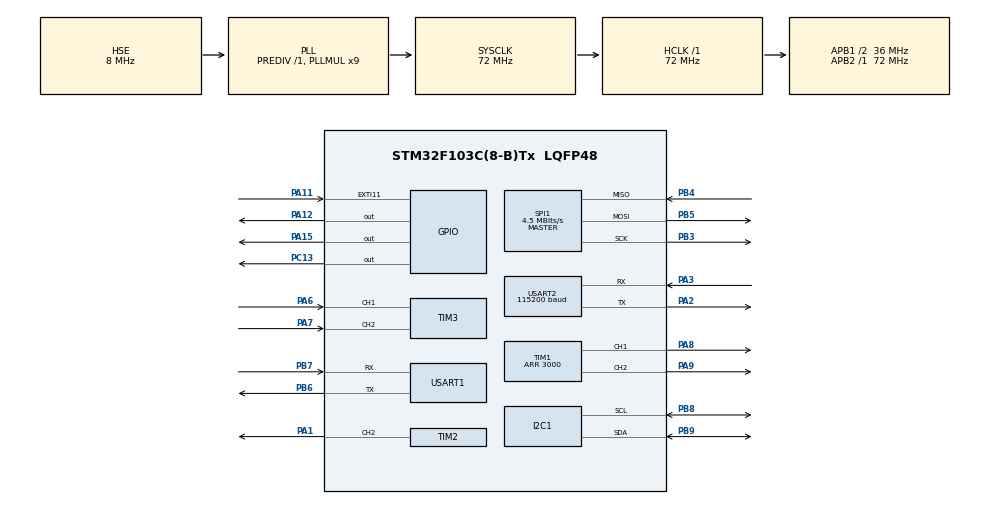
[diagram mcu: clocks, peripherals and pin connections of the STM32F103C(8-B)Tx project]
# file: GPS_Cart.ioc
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Dma.Request0=USART2_RX
Dma.Request1=USART1_RX
Dma.USART1_RX.1.Direction=DMA_PERIPH_TO_MEMORY
Dma.USART1_RX.1.Instance=DMA1_Channel5
Dma.USART1_RX.1.MemDataAlignment=DMA_MDATAALIGN_BYTE
Dma.USART1_RX.1.MemInc=DMA_MINC_ENABLE
Dma.USART1_RX.1.Mode=DMA_NORMAL
Dma.USART1_RX.1.PeriphDataAlignment=DMA_PDATAALIGN_BYTE
Dma.USART1_RX.1.PeriphInc=DMA_PINC_DISABLE
Dma.USART1_RX.1.Priority=DMA_PRIORITY_VERY_HIGH
Dma.USART2_RX.0.Direction=DMA_PERIPH_TO_MEMORY
Dma.USART2_RX.0.Instance=DMA1_Channel6
Dma.USART2_RX.0.MemDataAlignment=DMA_MDATAALIGN_BYTE
Dma.USART2_RX.0.MemInc=DMA_MINC_ENABLE
Dma.USART2_RX.0.Mode=DMA_NORMAL
Dma.USART2_RX.0.PeriphDataAlignment=DMA_PDATAALIGN_BYTE
Dma.USART2_RX.0.PeriphInc=DMA_PINC_DISABLE
Dma.USART2_RX.0.Priority=DMA_PRIORITY_MEDIUM
Mcu.Family=STM32F1
Mcu.Name=STM32F103C(8-B)Tx
Mcu.Package=LQFP48
NVIC.DMA1_Channel5_IRQn=true\:0\:0\:false\:false\:true\:false\:true
NVIC.DMA1_Channel6_IRQn=true\:0\:0\:false\:false\:true\:false\:true
NVIC.PriorityGroup=NVIC_PRIORITYGROUP_4
NVIC.TIM4_IRQn=true\:0\:0\:false\:false\:true\:true\:true
NVIC.USART1_IRQn=true\:0\:0\:false\:false\:true\:true\:true
NVIC.USART2_IRQn=true\:1\:0\:true\:false\:true\:true\:true
PA1.Signal=S_TIM2_CH2
PA11.Signal=GPXTI11
PA12.Signal=GPIO_Output
PA13.Mode=Serial_Wire
PA13.Signal=SYS_JTMS-SWDIO
PA14.Mode=Serial_Wire
PA14.Signal=SYS_JTCK-SWCLK
PA15.Signal=GPIO_Output
PA2.Mode=Asynchronous
PA2.Signal=USART2_TX
PA3.Mode=Asynchronous
PA3.Signal=USART2_RX
PA6.Signal=S_TIM3_CH1
PA7.Signal=S_TIM3_CH2
PA8.Signal=S_TIM1_CH1
PA9.Signal=S_TIM1_CH2
PB3.Mode=Full_Duplex_Master
PB3.Signal=SPI1_SCK
PB4.Mode=Full_Duplex_Master
PB4.Signal=SPI1_MISO
PB5.Mode=Full_Duplex_Master
PB5.Signal=SPI1_MOSI
PB6.Mode=Asynchronous
PB6.Signal=USART1_TX
PB7.Mode=Asynchronous
PB7.Signal=USART1_RX
PB8.Mode=I2C
PB8.Signal=I2C1_SCL
PB9.Mode=I2C
PB9.Signal=I2C1_SDA
PC13-TAMPER-RTC.Signal=GPIO_Output
PD0-OSC_IN.Mode=HSE-External-Oscillator
PD0-OSC_IN.Signal=RCC_OSC_IN
PD1-OSC_OUT.Mode=HSE-External-Oscillator
PD1-OSC_OUT.Signal=RCC_OSC_OUT
ProjectManager.HeapSize=0x200
ProjectManager.StackSize=0x400
ProjectManager.TargetToolchain=MDK-ARM V5.27
RCC.AHBFreq_Value=72000000
RCC.APB1CLKDivider=RCC_HCLK_DIV2
RCC.APB1Freq_Value=36000000
RCC.APB1TimFreq_Value=72000000
RCC.APB2Freq_Value=72000000
RCC.APB2TimFreq_Value=72000000
RCC.HCLKFreq_Value=72000000
RCC.PLLMUL=RCC_PLL_MUL9
RCC.PLLSourceVirtual=RCC_PLLSOURCE_HSE
RCC.SYSCLKFreq_VALUE=72000000
RCC.SYSCLKSource=RCC_SYSCLKSOURCE_PLLCLK
RCC.USBFreq_Value=72000000
SH.S_TIM1_CH1.0=TIM1_CH1,PWM Generation1 CH1
SH.S_TIM1_CH2.0=TIM1_CH2,PWM Generation2 CH2
SH.S_TIM2_CH2.0=TIM2_CH2,PWM Generation2 CH2
SH.S_TIM3_CH1.0=TIM3_CH1,Encoder_Interface
SH.S_TIM3_CH2.0=TIM3_CH2,Encoder_Interface
SPI1.BaudRatePrescaler=SPI_BAUDRATEPRESCALER_16
SPI1.CalculateBaudRate=4.5 MBits/s
SPI1.Direction=SPI_DIRECTION_2LINES
SPI1.Mode=SPI_MODE_MASTER
SPI1.VirtualType=VM_MASTER
TIM1.Channel-PWM\ Generation1\ CH1=TIM_CHANNEL_1
TIM1.Channel-PWM\ Generation2\ CH2=TIM_CHANNEL_2
TIM1.Period=3000
TIM2.Channel-PWM\ Generation2\ CH2=TIM_CHANNEL_2
TIM2.Period=999
TIM2.Prescaler=215
TIM4.Period=3600
TIM4.Prescaler=1000
USART1.VirtualMode=VM_ASYNC
USART2.BaudRate=115200
USART2.VirtualMode=VM_ASYNC
VP_TIM1_VS_ClockSourceINT.Mode=Internal
VP_TIM2_VS_ClockSourceINT.Mode=Internal
VP_TIM4_VS_ClockSourceINT.Mode=Internal
board=custom

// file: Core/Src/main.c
/* USER CODE BEGIN Header */
/**
  ******************************************************************************
  * @file           : main.c
  * @brief          : Main program body
  ******************************************************************************
  * @attention
  *
  * <h2><center>&copy; Copyright (c) 2022 STMicroelectronics.
  * All rights reserved.</center></h2>
  *
  * This software component is licensed by ST under BSD 3-Clause license,
  * the "License"; You may not use this file except in compliance with the
  * License. You may obtain a copy of the License at:
  *                        opensource.org/licenses/BSD-3-Clause
  *
  ******************************************************************************
  */
/* USER CODE END Header */
#include "main.h"

/* USER CODE BEGIN Includes */
#include "Functions.h"
#include "stdlib.h"
#include "stdio.h"
#include <string.h>

/* USER CODE END Includes */

/* USER CODE BEGIN PD */
#define forward		119//w
#define backward	115//s
#define stop			102//f
#define left			97 //a
#define right			100//d
#define straight	103//g
#define waypoint_request	114 //r
#define start_waypoint_request	109 //m
#define auto_request 116 //t

#define slight_left 104	//h
#define medium_left 106	//j

#define slight_right 107	//k
#define medium_right 108	//l

#define enable_PID 110 	//n
#define disable_PID 111	//o
#define pause_PID 112		//p

#define speed1 48	//0: 3.0
#define speed2 49 //1: 3.5
#define speed3 50 //2: 4.0
#define speed4 51 //3: 4.5
#define speed5 52 //4: 4.8

#define true 1
#define false 0

/* USER CODE END PD */

I2C_HandleTypeDef hi2c1;

SPI_HandleTypeDef hspi1;

TIM_HandleTypeDef htim1;
TIM_HandleTypeDef htim2;
TIM_HandleTypeDef htim3;
TIM_HandleTypeDef htim4;

UART_HandleTypeDef huart1;
UART_HandleTypeDef huart2;
DMA_HandleTypeDef hdma_usart1_rx;
DMA_HandleTypeDef hdma_usart2_rx;

/* USER CODE BEGIN PV */
uint8_t msg[50] = {0};
uint8_t msg_test[5] = {0};
uint8_t msg_gps [50] = {0};
uint8_t array_msg[14] = {0};
uint8_t size = 0;

float test_pid=0;
float set_speed=2.5;

//control
uint8_t dir, uart1_enb = true, uart2_enb = true;

//magnetometer variables
uint8_t compassData[6];
int16_t x_axis,y_axis,z_axis;
float heading;
uint32_t start,end;

//GPS
float lat,lon = 0;
char ns, ew;

//PID parameters
float kp= 20.0, ki=1.2, kd=0;
float pid[4], speed, distance;
char* token;
uint32_t now=0, before=0;
uint8_t period=0;
uint32_t start=0, end=0;
uint32_t count=0, pre_count=0;
uint8_t PID_flag = false;

//PID_tuning, can be deleted later
uint8_t org_size=18;
uint8_t add_size_speed=0, add_size_time=0;

/* USER CODE END PV */

void SystemClock_Config(void);
static void MX_GPIO_Init(void);
static void MX_DMA_Init(void);
static void MX_I2C1_Init(void);
static void MX_USART1_UART_Init(void);
static void MX_USART2_UART_Init(void);
static void MX_TIM1_Init(void);
static void MX_TIM3_Init(void);
static void MX_TIM4_Init(void);
static void MX_TIM2_Init(void);
static void MX_SPI1_Init(void);
/* USER CODE BEGIN PFP */

float convertToDistance(uint32_t count)
{
	return (float)((count*47)/592);
}

float nmeaToDec(float deg_coord, char nsew) {
    int degree = (int)(deg_coord/100);
    float minutes = deg_coord - degree*100;
    float dec_deg = minutes / 60;
    float decimal = degree + dec_deg;
    if (nsew == 'S' || nsew == 'W') { // return negative
        decimal *= -1;
    }
    return decimal;
}

void HAL_UARTEx_RxEventCallback(UART_HandleTypeDef *huart, uint16_t Size)
{
    HAL_UARTEx_ReceiveToIdle_DMA(&huart1, &dir, sizeof(dir));
		HAL_UARTEx_ReceiveToIdle_DMA(&huart2, msg_gps, sizeof(msg_gps));
    size = Size;

		if(huart->Instance == USART2)
		{
			//if(uart2_enb)
			//{
				//HAL_UART_Transmit(&huart1, msg_gps, strlen(msg_gps), 100);
				if(!strncmp(msg_gps, "$GNGLL", 6))
				{
					sscanf(msg_gps, "$GNGLL,%f,%c,%f,%c", &lat,&ns, &lon, &ew);
					lat = nmeaToDec(lat, ns);
					lon = nmeaToDec(lon, ew);
					//sprintf(msg,"%f, %f\r\n", lat, lon);
					//sprintf(msg,"Receiving from GPS");
					//HAL_UART_Transmit(&huart1, msg, strlen(msg), 100);
				}
			//}
			uart2_enb = 1- uart2_enb;
		}

		if(huart->Instance == USART1)
		{

			if(uart1_enb)
			{
			switch(dir)
			{
				case forward:
					//HAL_UART_Transmit(&huart1,&dir,1,100);
					TIM1->CCR1=0;
					TIM1->CCR2=0;
					TIM1->CCR1=2300;
				break;

				case backward:
					//HAL_UART_Transmit(&huart1,&dir,1,100);
					TIM1->CCR1=0;
					TIM1->CCR2=0;
					TIM1->CCR2=2300;
				break;

				case stop:
					//HAL_UART_Transmit(&huart1,&dir,1,100);
					TIM1->CCR1=0;
					TIM1->CCR2=0;
				break;

				case left:
					//HAL_UART_Transmit(&huart1,&dir,1,100);
					TIM2->CCR2 = 450 ;// yes
				break;

				case right:
					//HAL_UART_Transmit(&huart1,&dir,1,100);
					TIM2->CCR2 = 150 ;// yes
				break;

				case straight:
					//HAL_UART_Transmit(&huart1,&dir,1,100);
					TIM2->CCR2 = 310;// yes
				break;

				case waypoint_request:
				case start_waypoint_request:
					memset(msg,0,sizeof(msg));
					sprintf(msg,"%f,%f\r\n",lat,lon);
					HAL_UART_Transmit(&huart1,msg,strlen(msg),100);
				break;

				case auto_request:
					memset(msg,0,sizeof(msg));
					readAxis(compassData);
					heading=convert(&x_axis, &y_axis, &z_axis,  compassData);
					memset(msg,0,sizeof(msg));
					sprintf(msg,"%f,%f,%f,%f\r\n", lat, lon, heading, speed);
					HAL_UART_Transmit(&huart1,msg,strlen(msg),100);
				break;

				//auto set speed
				case speed1:
					case speed2:
						case speed3:
							case speed4:
								case speed5:
									setSpeed(&set_speed, dir);
								break;

				case enable_PID:
					PID_flag = true;
				break;

				case disable_PID:
					PID_flag = false;
				  TIM1->CCR1 = 0;
				  resetParameters();
				break;

				//auto directions
				case slight_left:
					TIM2->CCR2 = 367 ;// yes
				break;

				case medium_left:
					TIM2->CCR2 = 409 ;// yes
				break;

				case slight_right:
					TIM2->CCR2 = 208 ;// yes
				break;

				case medium_right:
					TIM2->CCR2 = 266 ;// yes
				break;

			}
		}
			uart1_enb = 1-uart1_enb;
	}

		 //PID
		 /*
		token = strtok(msg,",");

		TIM1 -> CCR1 = 0;

		resetParameters();

    uint8_t ind=0;

    for(ind =0; ind<4; ++ind)
		{
    	pid[ind] = atof(token);
     	token = strtok(NULL, ",");
		}
		//sprintf(msg,"The data is %f %f %f", pid[0], pid[1], pid[2]);
		//HAL_UART_Transmit(&huart1, msg, 50,100);
		kp = pid[0];
		ki = pid[1];
		kd = pid[2];
		set_speed = pid[3];
		memset(msg, 0, sizeof(msg));
		*/

}

void HAL_TIM_PeriodElapsedCallback(TIM_HandleTypeDef* htim)
{
	if(PID_flag)
	{
	HAL_GPIO_TogglePin(GPIOC, GPIO_PIN_13);

	count = TIM3->CNT;
	now = HAL_GetTick();
	float now_float = now;

	distance = ((TIM3->CNT - pre_count)*20);
	distance = (distance/592)*47.1/100;
	speed = distance*3.6;

	TIM1->CCR1 += PID_calc((now-before)/1000, set_speed, speed); //fix actual speed;
	//.........
	//convertTransfer(test_pid, now_float, array_msg);
	if((TIM1->CCR1)>2300)
	{
		TIM1->CCR1 = 2300;
	}
	else if(TIM1 -> CCR1 < 0)
	{
		TIM1->CCR1 = 0;
	}

	//sprintf(msg,"%f,%d\r\n",speed,now);
	//HAL_UART_Transmit(&huart1, msg, strlen(msg),100);
	//memset(msg,0,sizeof(msg));

	before = now;
	pre_count = count;
	}
}

/* USER CODE END PFP */

/* USER CODE BEGIN 0 */

void changeUART2Baud()
{
HAL_UART_DeInit(&huart2);
huart2.Init.BaudRate = 115200;
if (HAL_UART_Init(&huart2) != HAL_OK)
  {
    Error_Handler();
  }
}

/* USER CODE END 0 */

int main(void)
{

  /* MCU Configuration--------------------------------------------------------*/

  /* Reset of all peripherals, Initializes the Flash interface and the Systick. */
  HAL_Init();

  /* Configure the system clock */
  SystemClock_Config();

  /* USER CODE BEGIN SysInit */
	HAL_Delay(1000);
  /* USER CODE END SysInit */

  /* Initialize all configured peripherals */
  MX_GPIO_Init();
  MX_DMA_Init();
  MX_I2C1_Init();
  MX_USART1_UART_Init();
  MX_USART2_UART_Init();
  MX_TIM1_Init();
  MX_TIM3_Init();
  MX_TIM4_Init();
  MX_TIM2_Init();
  MX_SPI1_Init();
  /* USER CODE BEGIN 2 */
	HAL_I2C_Init(&hi2c1);
	HAL_TIM_Base_Start_IT(&htim4);
	HAL_TIM_Encoder_Start(&htim3, TIM_CHANNEL_1);
	HAL_TIM_Encoder_Start(&htim3, TIM_CHANNEL_2);
	HAL_TIM_PWM_Start(&htim1, TIM_CHANNEL_1);
	HAL_TIM_PWM_Start(&htim1, TIM_CHANNEL_2);

	//temp
	HAL_TIM_PWM_Start(&htim2, TIM_CHANNEL_2);

	//GPS_Init();

	compassInit();

	HAL_UARTEx_ReceiveToIdle_DMA(&huart1, &dir, sizeof(dir));
  __HAL_DMA_DISABLE_IT(&hdma_usart1_rx, DMA_IT_HT);

	HAL_UARTEx_ReceiveToIdle_DMA(&huart2, msg_gps, sizeof(msg_gps));
  __HAL_DMA_DISABLE_IT(&hdma_usart2_rx, DMA_IT_HT);

	TIM1->CCR1 = 0;
	TIM1 ->CCR2 = 0;

  /* USER CODE END 2 */

  /* Infinite loop */
  while (1)
  {

    /* USER CODE BEGIN 3 */
			//HAL_GPIO_TogglePin(GPIOC,GPIO_PIN_13);

			start = HAL_GetTick();
			//readAxis(compassData);
			//heading=convert(&x_axis, &y_axis, &z_axis,  compassData);
			end = HAL_GetTick();

			//HAL_UART_Receive(&huart2, msg, sizeof(msg),200);
			//sprintf(msg,"%d %d %d\r\n",x_axis,y_axis,z_axis);
			//sprintf(msg,"%f\r\n",heading);
			//HAL_UART_Transmit(&huart1, msg, strlen(msg),100);
			//memset(msg, 0, sizeof(msg));
			//sprintf(msg,"%d\r\n", TIM3->CNT);
			//HAL_UART_Transmit(&huart1, msg, strlen(msg),100);
			//HAL_Delay(100);
			//setSentence(0,1);
		/*
			for(int i =450; i>180; i=i-50)
			{
				TIM3->CCR3 = i;
				HAL_Delay(2000);
			}
		*/

  }
  /* USER CODE END 3 */
}

void SystemClock_Config(void)
{
  RCC_OscInitTypeDef RCC_OscInitStruct = {0};
  RCC_ClkInitTypeDef RCC_ClkInitStruct = {0};

  /** Initializes the RCC Oscillators according to the specified parameters
  * in the RCC_OscInitTypeDef structure.
  */
  RCC_OscInitStruct.OscillatorType = RCC_OSCILLATORTYPE_HSE;
  RCC_OscInitStruct.HSEState = RCC_HSE_ON;
  RCC_OscInitStruct.HSEPredivValue = RCC_HSE_PREDIV_DIV1;
  RCC_OscInitStruct.HSIState = RCC_HSI_ON;
  RCC_OscInitStruct.PLL.PLLState = RCC_PLL_ON;
  RCC_OscInitStruct.PLL.PLLSource = RCC_PLLSOURCE_HSE;
  RCC_OscInitStruct.PLL.PLLMUL = RCC_PLL_MUL9;
  if (HAL_RCC_OscConfig(&RCC_OscInitStruct) != HAL_OK)
  {
    Error_Handler();
  }
  /** Initializes the CPU, AHB and APB buses clocks
  */
  RCC_ClkInitStruct.ClockType = RCC_CLOCKTYPE_HCLK|RCC_CLOCKTYPE_SYSCLK
                              |RCC_CLOCKTYPE_PCLK1|RCC_CLOCKTYPE_PCLK2;
  RCC_ClkInitStruct.SYSCLKSource = RCC_SYSCLKSOURCE_PLLCLK;
  RCC_ClkInitStruct.AHBCLKDivider = RCC_SYSCLK_DIV1;
  RCC_ClkInitStruct.APB1CLKDivider = RCC_HCLK_DIV2;
  RCC_ClkInitStruct.APB2CLKDivider = RCC_HCLK_DIV1;

  if (HAL_RCC_ClockConfig(&RCC_ClkInitStruct, FLASH_LATENCY_2) != HAL_OK)
  {
    Error_Handler();
  }
}

static void MX_I2C1_Init(void)
{

  hi2c1.Instance = I2C1;
  hi2c1.Init.ClockSpeed = 100000;
  hi2c1.Init.DutyCycle = I2C_DUTYCYCLE_2;
  hi2c1.Init.OwnAddress1 = 0;
  hi2c1.Init.AddressingMode = I2C_ADDRESSINGMODE_7BIT;
  hi2c1.Init.DualAddressMode = I2C_DUALADDRESS_DISABLE;
  hi2c1.Init.OwnAddress2 = 0;
  hi2c1.Init.GeneralCallMode = I2C_GENERALCALL_DISABLE;
  hi2c1.Init.NoStretchMode = I2C_NOSTRETCH_DISABLE;
  if (HAL_I2C_Init(&hi2c1) != HAL_OK)
  {
    Error_Handler();
  }

}

static void MX_SPI1_Init(void)
{

  /* SPI1 parameter configuration*/
  hspi1.Instance = SPI1;
  hspi1.Init.Mode = SPI_MODE_MASTER;
  hspi1.Init.Direction = SPI_DIRECTION_2LINES;
  hspi1.Init.DataSize = SPI_DATASIZE_8BIT;
  hspi1.Init.CLKPolarity = SPI_POLARITY_LOW;
  hspi1.Init.CLKPhase = SPI_PHASE_1EDGE;
  hspi1.Init.NSS = SPI_NSS_SOFT;
  hspi1.Init.BaudRatePrescaler = SPI_BAUDRATEPRESCALER_16;
  hspi1.Init.FirstBit = SPI_FIRSTBIT_MSB;
  hspi1.Init.TIMode = SPI_TIMODE_DISABLE;
  hspi1.Init.CRCCalculation = SPI_CRCCALCULATION_DISABLE;
  hspi1.Init.CRCPolynomial = 10;
  if (HAL_SPI_Init(&hspi1) != HAL_OK)
  {
    Error_Handler();
  }

}

static void MX_TIM1_Init(void)
{

  TIM_ClockConfigTypeDef sClockSourceConfig = {0};
  TIM_MasterConfigTypeDef sMasterConfig = {0};
  TIM_OC_InitTypeDef sConfigOC = {0};
  TIM_BreakDeadTimeConfigTypeDef sBreakDeadTimeConfig = {0};

  htim1.Instance = TIM1;
  htim1.Init.Prescaler = 0;
  htim1.Init.CounterMode = TIM_COUNTERMODE_UP;
  htim1.Init.Period = 3000;
  htim1.Init.ClockDivision = TIM_CLOCKDIVISION_DIV1;
  htim1.Init.RepetitionCounter = 0;
  htim1.Init.AutoReloadPreload = TIM_AUTORELOAD_PRELOAD_DISABLE;
  if (HAL_TIM_Base_Init(&htim1) != HAL_OK)
  {
    Error_Handler();
  }
  sClockSourceConfig.ClockSource = TIM_CLOCKSOURCE_INTERNAL;
  if (HAL_TIM_ConfigClockSource(&htim1, &sClockSourceConfig) != HAL_OK)
  {
    Error_Handler();
  }
  if (HAL_TIM_PWM_Init(&htim1) != HAL_OK)
  {
    Error_Handler();
  }
  sMasterConfig.MasterOutputTrigger = TIM_TRGO_RESET;
  sMasterConfig.MasterSlaveMode = TIM_MASTERSLAVEMODE_DISABLE;
  if (HAL_TIMEx_MasterConfigSynchronization(&htim1, &sMasterConfig) != HAL_OK)
  {
    Error_Handler();
  }
  sConfigOC.OCMode = TIM_OCMODE_PWM1;
  sConfigOC.Pulse = 0;
  sConfigOC.OCPolarity = TIM_OCPOLARITY_HIGH;
  sConfigOC.OCNPolarity = TIM_OCNPOLARITY_HIGH;
  sConfigOC.OCFastMode = TIM_OCFAST_DISABLE;
  sConfigOC.OCIdleState = TIM_OCIDLESTATE_RESET;
  sConfigOC.OCNIdleState = TIM_OCNIDLESTATE_RESET;
  if (HAL_TIM_PWM_ConfigChannel(&htim1, &sConfigOC, TIM_CHANNEL_1) != HAL_OK)
  {
    Error_Handler();
  }
  if (HAL_TIM_PWM_ConfigChannel(&htim1, &sConfigOC, TIM_CHANNEL_2) != HAL_OK)
  {
    Error_Handler();
  }
  sBreakDeadTimeConfig.OffStateRunMode = TIM_OSSR_DISABLE;
  sBreakDeadTimeConfig.OffStateIDLEMode = TIM_OSSI_DISABLE;
  sBreakDeadTimeConfig.LockLevel = TIM_LOCKLEVEL_OFF;
  sBreakDeadTimeConfig.DeadTime = 0;
  sBreakDeadTimeConfig.BreakState = TIM_BREAK_DISABLE;
  sBreakDeadTimeConfig.BreakPolarity = TIM_BREAKPOLARITY_HIGH;
  sBreakDeadTimeConfig.AutomaticOutput = TIM_AUTOMATICOUTPUT_DISABLE;
  if (HAL_TIMEx_ConfigBreakDeadTime(&htim1, &sBreakDeadTimeConfig) != HAL_OK)
  {
    Error_Handler();
  }
  HAL_TIM_MspPostInit(&htim1);

}

static void MX_TIM2_Init(void)
{

  TIM_ClockConfigTypeDef sClockSourceConfig = {0};
  TIM_MasterConfigTypeDef sMasterConfig = {0};
  TIM_OC_InitTypeDef sConfigOC = {0};

  htim2.Instance = TIM2;
  htim2.Init.Prescaler = 215;
  htim2.Init.CounterMode = TIM_COUNTERMODE_UP;
  htim2.Init.Period = 999;
  htim2.Init.ClockDivision = TIM_CLOCKDIVISION_DIV1;
  htim2.Init.AutoReloadPreload = TIM_AUTORELOAD_PRELOAD_DISABLE;
  if (HAL_TIM_Base_Init(&htim2) != HAL_OK)
  {
    Error_Handler();
  }
  sClockSourceConfig.ClockSource = TIM_CLOCKSOURCE_INTERNAL;
  if (HAL_TIM_ConfigClockSource(&htim2, &sClockSourceConfig) != HAL_OK)
  {
    Error_Handler();
  }
  if (HAL_TIM_PWM_Init(&htim2) != HAL_OK)
  {
    Error_Handler();
  }
  sMasterConfig.MasterOutputTrigger = TIM_TRGO_RESET;
  sMasterConfig.MasterSlaveMode = TIM_MASTERSLAVEMODE_DISABLE;
  if (HAL_TIMEx_MasterConfigSynchronization(&htim2, &sMasterConfig) != HAL_OK)
  {
    Error_Handler();
  }
  sConfigOC.OCMode = TIM_OCMODE_PWM1;
  sConfigOC.Pulse = 0;
  sConfigOC.OCPolarity = TIM_OCPOLARITY_HIGH;
  sConfigOC.OCFastMode = TIM_OCFAST_DISABLE;
  if (HAL_TIM_PWM_ConfigChannel(&htim2, &sConfigOC, TIM_CHANNEL_2) != HAL_OK)
  {
    Error_Handler();
  }
  HAL_TIM_MspPostInit(&htim2);

}

static void MX_TIM3_Init(void)
{

  TIM_Encoder_InitTypeDef sConfig = {0};
  TIM_MasterConfigTypeDef sMasterConfig = {0};

  htim3.Instance = TIM3;
  htim3.Init.Prescaler = 0;
  htim3.Init.CounterMode = TIM_COUNTERMODE_UP;
  htim3.Init.Period = 65535;
  htim3.Init.ClockDivision = TIM_CLOCKDIVISION_DIV1;
  htim3.Init.AutoReloadPreload = TIM_AUTORELOAD_PRELOAD_DISABLE;
  sConfig.EncoderMode = TIM_ENCODERMODE_TI1;
  sConfig.IC1Polarity = TIM_ICPOLARITY_RISING;
  sConfig.IC1Selection = TIM_ICSELECTION_DIRECTTI;
  sConfig.IC1Prescaler = TIM_ICPSC_DIV1;
  sConfig.IC1Filter = 0;
  sConfig.IC2Polarity = TIM_ICPOLARITY_RISING;
  sConfig.IC2Selection = TIM_ICSELECTION_DIRECTTI;
  sConfig.IC2Prescaler = TIM_ICPSC_DIV1;
  sConfig.IC2Filter = 0;
  if (HAL_TIM_Encoder_Init(&htim3, &sConfig) != HAL_OK)
  {
    Error_Handler();
  }
  sMasterConfig.MasterOutputTrigger = TIM_TRGO_RESET;
  sMasterConfig.MasterSlaveMode = TIM_MASTERSLAVEMODE_DISABLE;
  if (HAL_TIMEx_MasterConfigSynchronization(&htim3, &sMasterConfig) != HAL_OK)
  {
    Error_Handler();
  }

}

static void MX_TIM4_Init(void)
{

  TIM_ClockConfigTypeDef sClockSourceConfig = {0};
  TIM_MasterConfigTypeDef sMasterConfig = {0};

  htim4.Instance = TIM4;
  htim4.Init.Prescaler = 1000;
  htim4.Init.CounterMode = TIM_COUNTERMODE_UP;
  htim4.Init.Period = 3600;
  htim4.Init.ClockDivision = TIM_CLOCKDIVISION_DIV1;
  htim4.Init.AutoReloadPreload = TIM_AUTORELOAD_PRELOAD_DISABLE;
  if (HAL_TIM_Base_Init(&htim4) != HAL_OK)
  {
    Error_Handler();
  }
  sClockSourceConfig.ClockSource = TIM_CLOCKSOURCE_INTERNAL;
  if (HAL_TIM_ConfigClockSource(&htim4, &sClockSourceConfig) != HAL_OK)
  {
    Error_Handler();
  }
  sMasterConfig.MasterOutputTrigger = TIM_TRGO_RESET;
  sMasterConfig.MasterSlaveMode = TIM_MASTERSLAVEMODE_DISABLE;
  if (HAL_TIMEx_MasterConfigSynchronization(&htim4, &sMasterConfig) != HAL_OK)
  {
    Error_Handler();
  }

}

static void MX_USART1_UART_Init(void)
{

  huart1.Instance = USART1;
  huart1.Init.BaudRate = 115200;
  huart1.Init.WordLength = UART_WORDLENGTH_8B;
  huart1.Init.StopBits = UART_STOPBITS_1;
  huart1.Init.Parity = UART_PARITY_NONE;
  huart1.Init.Mode = UART_MODE_TX_RX;
  huart1.Init.HwFlowCtl = UART_HWCONTROL_NONE;
  huart1.Init.OverSampling = UART_OVERSAMPLING_16;
  if (HAL_UART_Init(&huart1) != HAL_OK)
  {
    Error_Handler();
  }

}

static void MX_USART2_UART_Init(void)
{

  huart2.Instance = USART2;
  huart2.Init.BaudRate = 115200;
  huart2.Init.WordLength = UART_WORDLENGTH_8B;
  huart2.Init.StopBits = UART_STOPBITS_1;
  huart2.Init.Parity = UART_PARITY_NONE;
  huart2.Init.Mode = UART_MODE_TX_RX;
  huart2.Init.HwFlowCtl = UART_HWCONTROL_NONE;
  huart2.Init.OverSampling = UART_OVERSAMPLING_16;
  if (HAL_UART_Init(&huart2) != HAL_OK)
  {
    Error_Handler();
  }

}

static void MX_DMA_Init(void)
{

  /* DMA controller clock enable */
  __HAL_RCC_DMA1_CLK_ENABLE();

  /* DMA interrupt init */
  /* DMA1_Channel5_IRQn interrupt configuration */
  HAL_NVIC_SetPriority(DMA1_Channel5_IRQn, 0, 0);
  HAL_NVIC_EnableIRQ(DMA1_Channel5_IRQn);
  /* DMA1_Channel6_IRQn interrupt configuration */
  HAL_NVIC_SetPriority(DMA1_Channel6_IRQn, 0, 0);
  HAL_NVIC_EnableIRQ(DMA1_Channel6_IRQn);

}

static void MX_GPIO_Init(void)
{
  GPIO_InitTypeDef GPIO_InitStruct = {0};

  /* GPIO Ports Clock Enable */
  __HAL_RCC_GPIOC_CLK_ENABLE();
  __HAL_RCC_GPIOD_CLK_ENABLE();
  __HAL_RCC_GPIOA_CLK_ENABLE();
  __HAL_RCC_GPIOB_CLK_ENABLE();

  /*Configure GPIO pin Output Level */
  HAL_GPIO_WritePin(GPIOC, GPIO_PIN_13, GPIO_PIN_RESET);

  /*Configure GPIO pin Output Level */
  HAL_GPIO_WritePin(GPIOA, GPIO_PIN_12|GPIO_PIN_15, GPIO_PIN_RESET);

  /*Configure GPIO pin : PC13 */
  GPIO_InitStruct.Pin = GPIO_PIN_13;
  GPIO_InitStruct.Mode = GPIO_MODE_OUTPUT_PP;
  GPIO_InitStruct.Pull = GPIO_NOPULL;
  GPIO_InitStruct.Speed = GPIO_SPEED_FREQ_LOW;
  HAL_GPIO_Init(GPIOC, &GPIO_InitStruct);

  /*Configure GPIO pin : PA11 */
  GPIO_InitStruct.Pin = GPIO_PIN_11;
  GPIO_InitStruct.Mode = GPIO_MODE_IT_RISING;
  GPIO_InitStruct.Pull = GPIO_NOPULL;
  HAL_GPIO_Init(GPIOA, &GPIO_InitStruct);

  /*Configure GPIO pins : PA12 PA15 */
  GPIO_InitStruct.Pin = GPIO_PIN_12|GPIO_PIN_15;
  GPIO_InitStruct.Mode = GPIO_MODE_OUTPUT_PP;
  GPIO_InitStruct.Pull = GPIO_NOPULL;
  GPIO_InitStruct.Speed = GPIO_SPEED_FREQ_LOW;
  HAL_GPIO_Init(GPIOA, &GPIO_InitStruct);

}

void Error_Handler(void)
{
  __disable_irq();
  while (1)
  {
  }
}

/************************ (C) COPYRIGHT STMicroelectronics *****END OF FILE****/
